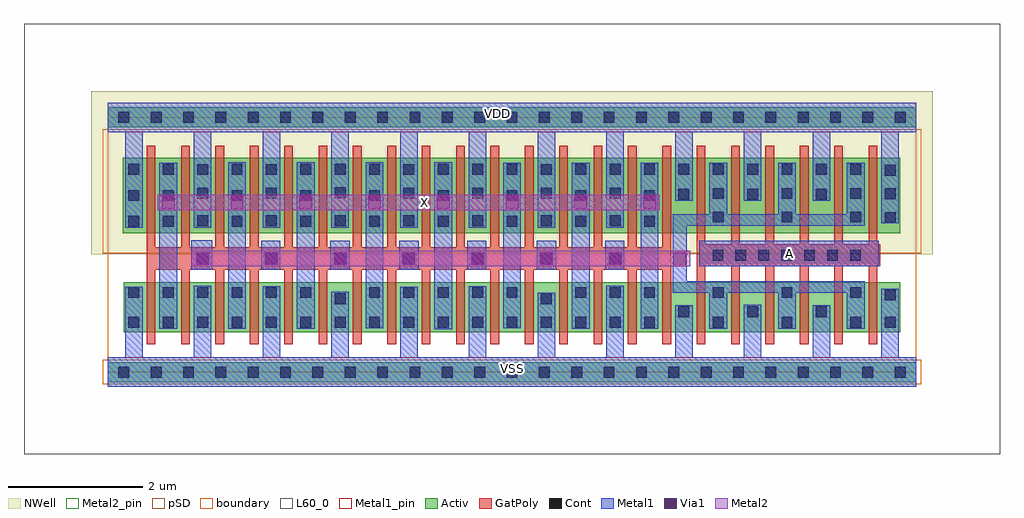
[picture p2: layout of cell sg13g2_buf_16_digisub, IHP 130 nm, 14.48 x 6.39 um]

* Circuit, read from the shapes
.subckt sg13g2_buf_16_digisub A VDD VSS X
XM1 X n1 VSS VSS sg13_lv_nmos w=0.74u l=0.13u m=16
XM2 n1 A VSS VSS sg13_lv_nmos w=0.74u l=0.13u m=6
XM3 X n1 VDD VDD sg13_lv_pmos w=1.12u l=0.13u m=16
XM4 n1 A VDD VDD sg13_lv_pmos w=1.12u l=0.13u m=6
.ends

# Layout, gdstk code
import gdstk
lib = gdstk.Library(unit=1e-6, precision=1e-09)
def R(c, l, rs):  # rectangles x0, y0, x1, y1
    for r in rs: c.add(gdstk.rectangle(r[:2], r[2:], *l))
def A(c, l, x, y, w, h, nx, ny, dx, dy):  # array of equal rectangles
    R(c, l, [(x+i*dx, y+j*dy, x+i*dx+w, y+j*dy+h) for i in range(nx) for j in range(ny)])
def P(c, l, *ps):  # polygons
    for p in ps: c.add(gdstk.Polygon(p, *l))
Activ = (1, 0)
GatPoly = (5, 0)
Cont = (6, 0)
Metal1 = (8, 0)
Metal1_pin = (8, 2)
Metal2 = (10, 0)
Metal2_pin = (10, 2)
pSD = (14, 0)
Via1 = (19, 0)
NWell = (31, 0)
L60_0 = (60, 0)
boundary = (189, 4)

sg13g2_buf_16_digisub = lib.new_cell('sg13g2_buf_16_digisub')
R(sg13g2_buf_16_digisub, Activ, [(0,-0.15,12,0.15), (0.24,0.59,11.76,1.33), (0.225,2.06,11.76,3.18), (0,3.63,12,3.93)])
P(sg13g2_buf_16_digisub, GatPoly, [(11.46,1.9),(11.42,1.9),(11.42,3.36),(11.29,3.36),(11.29,1.9),(10.91,1.9),(10.91,3.36),(10.78,3.36),(10.78,1.9),(10.4,1.9),(10.4,3.36),(10.27,3.36),(10.27,1.9),(9.89,1.9),(9.89,3.36),(9.76,3.36),(9.76,1.9),(9.38,1.9),(9.38,3.36),(9.25,3.36),(9.25,1.9),(8.87,1.9),(8.87,3.36),(8.74,3.36),(8.74,0.41),(8.87,0.41),(8.87,1.57),(9.25,1.57),(9.25,0.41),(9.38,0.41),(9.38,1.57),(9.76,1.57),(9.76,0.41),(9.89,0.41),(9.89,1.57),(10.27,1.57),(10.27,0.41),(10.4,0.41),(10.4,1.57),(10.78,1.57),(10.78,0.41),(10.91,0.41),(10.91,1.57),(11.29,1.57),(11.29,0.41),(11.42,0.41),(11.42,1.57),(11.46,1.57)],
  [(8.36,3.36),(8.23,3.36),(8.23,1.85),(7.85,1.85),(7.85,3.36),(7.72,3.36),(7.72,1.85),(7.34,1.85),(7.34,3.36),(7.21,3.36),(7.21,1.85),(6.83,1.85),(6.83,3.36),(6.7,3.36),(6.7,1.85),(6.32,1.85),(6.32,3.36),(6.19,3.36),(6.19,1.85),(5.81,1.85),(5.81,3.36),(5.68,3.36),(5.68,1.85),(5.3,1.85),(5.3,3.36),(5.17,3.36),(5.17,1.85),(4.79,1.85),(4.79,3.36),(4.66,3.36),(4.66,1.85),(4.28,1.85),(4.28,3.36),(4.15,3.36),(4.15,1.85),(3.77,1.85),(3.77,3.36),(3.64,3.36),(3.64,1.85),(3.26,1.85),(3.26,3.36),(3.13,3.36),(3.13,1.85),(2.75,1.85),(2.75,3.36),(2.62,3.36),(2.62,1.85),(2.24,1.85),(2.24,3.36),(2.11,3.36),(2.11,1.85),(1.73,1.85),(1.73,3.36),(1.6,3.36),(1.6,1.85),(1.22,1.85),(1.22,3.36),(1.09,3.36),(1.09,1.85),(0.71,1.85),(0.71,3.36),(0.58,3.36),(0.58,0.41),(0.71,0.41),(0.71,1.52),(1.09,1.52),(1.09,0.41),(1.22,0.41),(1.22,1.52),(1.6,1.52),(1.6,0.41),(1.73,0.41),(1.73,1.52),(2.11,1.52),(2.11,0.41),(2.24,0.41),(2.24,1.52),(2.62,1.52),(2.62,0.41),(2.75,0.41),(2.75,1.52),(3.13,1.52),(3.13,0.41),(3.26,0.41),(3.26,1.52),(3.64,1.52),(3.64,0.41),(3.77,0.41),(3.77,1.52),(4.15,1.52),(4.15,0.41),(4.28,0.41),(4.28,1.52),(4.66,1.52),(4.66,0.41),(4.79,0.41),(4.79,1.52),(5.17,1.52),(5.17,0.41),(5.3,0.41),(5.3,1.52),(5.68,1.52),(5.68,0.41),(5.81,0.41),(5.81,1.52),(6.19,1.52),(6.19,0.41),(6.32,0.41),(6.32,1.52),(6.7,1.52),(6.7,0.41),(6.83,0.41),(6.83,1.52),(7.21,1.52),(7.21,0.41),(7.34,0.41),(7.34,1.52),(7.72,1.52),(7.72,0.41),(7.85,0.41),(7.85,1.52),(8.23,1.52),(8.23,0.41),(8.36,0.41)])
A(sg13g2_buf_16_digisub, Cont, 0.31, 0.66, 0.16, 0.16, 16, 1, 0.51, 0)
A(sg13g2_buf_16_digisub, Cont, 8.98, 0.66, 0.16, 0.16, 3, 2, 1.02, 0.44)
A(sg13g2_buf_16_digisub, Cont, 8.47, 0.815, 0.16, 0.16, 3, 2, 1.02, 1.745)
A(sg13g2_buf_16_digisub, Cont, 0.31, 1.1, 0.16, 0.16, 6, 1, 0.51, 0)
A(sg13g2_buf_16_digisub, Cont, 3.88, 1.1, 0.16, 0.16, 5, 1, 0.51, 0)
A(sg13g2_buf_16_digisub, Cont, 6.94, 1.1, 0.16, 0.16, 3, 1, 0.51, 0)
A(sg13g2_buf_16_digisub, Cont, 1.33, 1.605, 0.16, 0.16, 7, 2, 1.02, 0.56)
A(sg13g2_buf_16_digisub, Cont, 8.975, 1.655, 0.16, 0.16, 7, 1, 0.34, 0)
A(sg13g2_buf_16_digisub, Cont, 0.82, 2.16, 0.16, 0.16, 8, 2, 1.02, 0.38)
A(sg13g2_buf_16_digisub, Cont, 11.53, 2.215, 0.16, 0.16, 1, 3, 0, 0.35)
A(sg13g2_buf_16_digisub, Cont, 8.98, 2.22, 0.16, 0.16, 3, 2, 1.02, 0.35)
A(sg13g2_buf_16_digisub, Cont, 4.39, 2.575, 0.16, 0.16, 4, 1, 1.02, 0)
A(sg13g2_buf_16_digisub, Cont, 2.35, 2.925, 0.16, 0.16, 3, 1, 2.04, 0)
A(sg13g2_buf_16_digisub, Cont, 0.82, 2.93, 0.16, 0.16, 3, 1, 1.02, 0)
A(sg13g2_buf_16_digisub, Cont, 4.9, 2.93, 0.16, 0.16, 3, 1, 0.51, 0)
A(sg13g2_buf_16_digisub, Cont, 6.94, 2.93, 0.16, 0.16, 9, 1, 0.51, 0)
R(sg13g2_buf_16_digisub, Cont, [(0.16,-0.08,0.32,0.08), (0.16,-0.08,0.32,0.08), (0.64,-0.08,0.8,0.08), (0.64,-0.08,0.8,0.08), (1.12,-0.08,1.28,0.08), (1.12,-0.08,1.28,0.08), (1.6,-0.08,1.76,0.08), (1.6,-0.08,1.76,0.08), (2.08,-0.08,2.24,0.08), (2.08,-0.08,2.24,0.08), (2.56,-0.08,2.72,0.08), (2.56,-0.08,2.72,0.08), (3.04,-0.08,3.2,0.08), (3.04,-0.08,3.2,0.08), (3.52,-0.08,3.68,0.08), (3.52,-0.08,3.68,0.08), (4,-0.08,4.16,0.08), (4,-0.08,4.16,0.08), (4.48,-0.08,4.64,0.08), (4.48,-0.08,4.64,0.08), (4.96,-0.08,5.12,0.08), (4.96,-0.08,5.12,0.08), (5.44,-0.08,5.6,0.08), (5.44,-0.08,5.6,0.08), (5.92,-0.08,6.08,0.08), (5.92,-0.08,6.08,0.08), (6.4,-0.08,6.56,0.08), (6.4,-0.08,6.56,0.08), (6.88,-0.08,7.04,0.08), (6.88,-0.08,7.04,0.08), (7.36,-0.08,7.52,0.08), (7.36,-0.08,7.52,0.08), (7.84,-0.08,8,0.08), (7.84,-0.08,8,0.08), (8.32,-0.08,8.48,0.08), (8.32,-0.08,8.48,0.08), (8.8,-0.08,8.96,0.08), (8.8,-0.08,8.96,0.08), (9.28,-0.08,9.44,0.08), (9.28,-0.08,9.44,0.08), (9.76,-0.08,9.92,0.08), (9.76,-0.08,9.92,0.08), (10.24,-0.08,10.4,0.08), (10.24,-0.08,10.4,0.08), (10.72,-0.08,10.88,0.08), (10.72,-0.08,10.88,0.08), (11.2,-0.08,11.36,0.08), (11.2,-0.08,11.36,0.08), (11.68,-0.08,11.84,0.08), (11.68,-0.08,11.84,0.08), (11.53,0.66,11.69,0.82), (3.37,1.01,3.53,1.17), (6.43,1.01,6.59,1.17), (11.53,1.065,11.69,1.225), (0.31,2.16,0.47,2.32), (0.31,2.54,0.47,2.7), (1.33,2.575,1.49,2.735), (2.35,2.575,2.51,2.735), (3.37,2.58,3.53,2.74), (1.33,2.925,1.49,3.085), (0.31,2.93,0.47,3.09), (3.37,2.93,3.53,3.09), (3.88,2.93,4.04,3.09), (0.16,3.7,0.32,3.86), (0.16,3.7,0.32,3.86), (0.64,3.7,0.8,3.86), (0.64,3.7,0.8,3.86), (1.12,3.7,1.28,3.86), (1.12,3.7,1.28,3.86), (1.6,3.7,1.76,3.86), (1.6,3.7,1.76,3.86), (2.08,3.7,2.24,3.86), (2.08,3.7,2.24,3.86), (2.56,3.7,2.72,3.86), (2.56,3.7,2.72,3.86), (3.04,3.7,3.2,3.86), (3.04,3.7,3.2,3.86), (3.52,3.7,3.68,3.86), (3.52,3.7,3.68,3.86), (4,3.7,4.16,3.86), (4,3.7,4.16,3.86), (4.48,3.7,4.64,3.86), (4.48,3.7,4.64,3.86), (4.96,3.7,5.12,3.86), (4.96,3.7,5.12,3.86), (5.44,3.7,5.6,3.86), (5.44,3.7,5.6,3.86), (5.92,3.7,6.08,3.86), (5.92,3.7,6.08,3.86), (6.4,3.7,6.56,3.86), (6.4,3.7,6.56,3.86), (6.88,3.7,7.04,3.86), (6.88,3.7,7.04,3.86), (7.36,3.7,7.52,3.86), (7.36,3.7,7.52,3.86), (7.84,3.7,8,3.86), (7.84,3.7,8,3.86), (8.32,3.7,8.48,3.86), (8.32,3.7,8.48,3.86), (8.8,3.7,8.96,3.86), (8.8,3.7,8.96,3.86), (9.28,3.7,9.44,3.86), (9.28,3.7,9.44,3.86), (9.76,3.7,9.92,3.86), (9.76,3.7,9.92,3.86), (10.24,3.7,10.4,3.86), (10.24,3.7,10.4,3.86), (10.72,3.7,10.88,3.86), (10.72,3.7,10.88,3.86), (11.2,3.7,11.36,3.86), (11.2,3.7,11.36,3.86), (11.68,3.7,11.84,3.86), (11.68,3.7,11.84,3.86)])
R(sg13g2_buf_16_digisub, Metal1, [(4.85,0.635,5.11,3.11), (0.77,0.64,1.03,3.105), (7.91,0.64,8.17,3.105), (1.79,0.645,2.05,3.11), (2.81,0.645,3.07,3.11), (6.89,0.645,7.15,3.105), (3.83,0.65,4.09,3.11), (5.87,0.65,6.13,3.105), (1.24,1.52,1.55,1.955), (2.28,1.52,2.565,1.95), (3.3,1.52,3.595,1.95), (4.33,1.52,4.615,1.95), (5.335,1.52,5.62,1.95), (6.37,1.52,6.655,1.95), (7.38,1.52,7.665,1.95), (8.78,1.57,11.44,1.95)])
P(sg13g2_buf_16_digisub, Metal1, [(12,0.22),(11.74,0.22),(11.74,1.235),(11.48,1.235),(11.48,0.22),(10.72,0.22),(10.72,0.995),(10.46,0.995),(10.46,0.22),(9.7,0.22),(9.7,1),(9.44,1),(9.44,0.22),(8.685,0.22),(8.685,0.99),(8.42,0.99),(8.42,0.22),(7.66,0.22),(7.66,1.28),(7.4,1.28),(7.4,0.22),(6.64,0.22),(6.64,1.18),(6.38,1.18),(6.38,0.22),(5.62,0.22),(5.62,1.275),(5.36,1.275),(5.36,0.22),(4.6,0.22),(4.6,1.27),(4.34,1.27),(4.34,0.22),(3.58,0.22),(3.58,1.195),(3.32,1.195),(3.32,0.22),(2.56,0.22),(2.56,1.275),(2.3,1.275),(2.3,0.22),(1.54,0.22),(1.54,1.28),(1.28,1.28),(1.28,0.22),(0.52,0.22),(0.52,1.27),(0.26,1.27),(0.26,0.22),(0,0.22),(0,-0.22),(12,-0.22)],
  [(12,4),(0,4),(0,3.56),(0.26,3.56),(0.26,2.14),(0.52,2.14),(0.52,3.56),(1.28,3.56),(1.28,2.14),(1.54,2.14),(1.54,3.56),(2.3,3.56),(2.3,2.14),(2.56,2.14),(2.56,3.56),(3.32,3.56),(3.32,2.14),(3.58,2.14),(3.58,3.56),(4.34,3.56),(4.34,2.145),(4.6,2.145),(4.6,3.56),(5.36,3.56),(5.36,2.145),(5.62,2.145),(5.62,3.56),(6.38,3.56),(6.38,2.145),(6.64,2.145),(6.64,3.56),(7.4,3.56),(7.4,2.145),(7.66,2.145),(7.66,3.56),(8.42,3.56),(8.42,2.54),(8.68,2.54),(8.68,3.56),(9.44,3.56),(9.44,2.54),(9.7,2.54),(9.7,3.56),(10.46,3.56),(10.46,2.545),(10.72,2.545),(10.72,3.56),(11.48,3.56),(11.48,2.205),(11.74,2.205),(11.74,3.56),(12,3.56)],
  [(11.23,3.105),(10.97,3.105),(10.97,2.34),(10.21,2.34),(10.21,3.105),(9.95,3.105),(9.95,2.34),(9.19,2.34),(9.19,3.105),(8.93,3.105),(8.93,2.34),(8.385,2.34),(8.385,1.18),(8.93,1.18),(8.93,0.645),(9.19,0.645),(9.19,1.18),(9.95,1.18),(9.95,0.64),(10.21,0.64),(10.21,1.18),(10.97,1.18),(10.97,0.645),(11.23,0.645),(11.23,1.35),(8.595,1.35),(8.595,2.17),(11.23,2.17)])
R(sg13g2_buf_16_digisub, Metal1_pin, [(0,-0.22,12,0.22), (8.78,1.57,11.44,1.95), (0,3.56,12,4)])
R(sg13g2_buf_16_digisub, Metal2, [(1.24,1.57,8.645,1.8), (0.745,2.405,8.195,2.635)])
R(sg13g2_buf_16_digisub, Metal2_pin, [(0.745,2.405,8.195,2.635)])
R(sg13g2_buf_16_digisub, pSD, [(-0.07,-0.18,12.07,0.18), (-0.07,1.76,12.07,3.6)])
A(sg13g2_buf_16_digisub, Via1, 1.315, 1.59, 0.19, 0.19, 7, 1, 1.02, 0)
A(sg13g2_buf_16_digisub, Via1, 0.805, 2.425, 0.19, 0.19, 5, 1, 1.02, 0)
R(sg13g2_buf_16_digisub, Via1, [(8.395,1.59,8.585,1.78), (5.91,2.425,6.1,2.615), (6.925,2.425,7.115,2.615), (7.95,2.425,8.14,2.615)])
R(sg13g2_buf_16_digisub, NWell, [(-0.24,1.75,12.24,4.17)])
R(sg13g2_buf_16_digisub, L60_0, [(-1.24,-1.22,13.24,5.17)])
R(sg13g2_buf_16_digisub, boundary, [(0,0,12,3.78)])
sg13g2_buf_16_digisub.add(gdstk.Label('X', (4.695,2.52), layer=10, texttype=25))
sg13g2_buf_16_digisub.add(gdstk.Label('VDD', (5.78,3.835), layer=8, texttype=25))
sg13g2_buf_16_digisub.add(gdstk.Label('VSS', (6.01,0.055), layer=8, texttype=25))
sg13g2_buf_16_digisub.add(gdstk.Label('A', (10.11,1.755), layer=8, texttype=25))

lib.write_gds('sg13g2_buf_16_digisub.gds')
